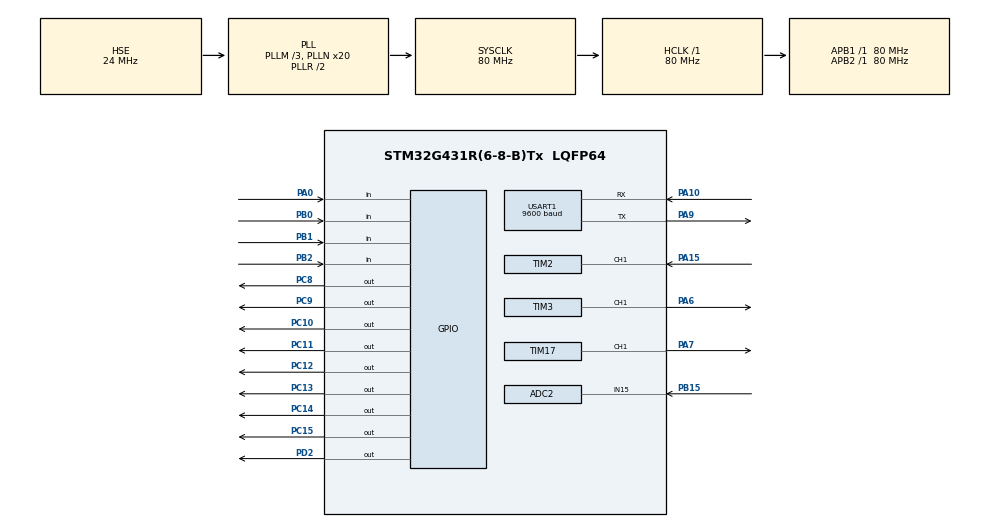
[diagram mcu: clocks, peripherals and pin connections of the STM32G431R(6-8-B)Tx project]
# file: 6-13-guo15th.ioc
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ADC2.Channel-0\#ChannelRegularConversion=ADC_CHANNEL_15
ADC2.ClockPrescaler=ADC_CLOCK_ASYNC_DIV128
ADC2.NbrOfConversionFlag=1
ADC2.OffsetNumber-0\#ChannelRegularConversion=ADC_OFFSET_NONE
ADC2.Rank-0\#ChannelRegularConversion=1
ADC2.SamplingTime-0\#ChannelRegularConversion=ADC_SAMPLETIME_2CYCLES_5
Mcu.Family=STM32G4
Mcu.Name=STM32G431R(6-8-B)Tx
Mcu.Package=LQFP64
NVIC.PriorityGroup=NVIC_PRIORITYGROUP_4
NVIC.TIM1_BRK_TIM15_IRQn=true\:0\:0\:false\:false\:true\:true\:true\:true
NVIC.TIM2_IRQn=true\:0\:0\:false\:false\:true\:true\:true\:true
NVIC.TIM7_IRQn=true\:0\:0\:false\:false\:true\:true\:true\:true
NVIC.USART1_IRQn=true\:0\:0\:false\:false\:true\:true\:true\:true
PA0.GPIO_PuPd=GPIO_PULLUP
PA0.Signal=GPIO_Input
PA10.Mode=Asynchronous
PA10.Signal=USART1_RX
PA13.Mode=Serial_Wire
PA13.Signal=SYS_JTMS-SWDIO
PA14.Mode=Serial_Wire
PA14.Signal=SYS_JTCK-SWCLK
PA15.Signal=S_TIM2_CH1
PA6.Signal=S_TIM3_CH1
PA7.Signal=S_TIM17_CH1
PA9.Mode=Asynchronous
PA9.Signal=USART1_TX
PB0.GPIO_PuPd=GPIO_PULLUP
PB0.Signal=GPIO_Input
PB1.GPIO_PuPd=GPIO_PULLUP
PB1.Signal=GPIO_Input
PB15.Mode=IN15-Single-Ended
PB15.Signal=ADC2_IN15
PB2.GPIO_PuPd=GPIO_PULLUP
PB2.Signal=GPIO_Input
PC10.PinState=GPIO_PIN_SET
PC10.Signal=GPIO_Output
PC11.PinState=GPIO_PIN_SET
PC11.Signal=GPIO_Output
PC12.PinState=GPIO_PIN_SET
PC12.Signal=GPIO_Output
PC13.PinState=GPIO_PIN_SET
PC13.Signal=GPIO_Output
PC14-OSC32_IN.PinState=GPIO_PIN_SET
PC14-OSC32_IN.Signal=GPIO_Output
PC15-OSC32_OUT.PinState=GPIO_PIN_SET
PC15-OSC32_OUT.Signal=GPIO_Output
PC8.PinState=GPIO_PIN_SET
PC8.Signal=GPIO_Output
PC9.PinState=GPIO_PIN_SET
PC9.Signal=GPIO_Output
PD2.Signal=GPIO_Output
PF0-OSC_IN.Mode=HSE-External-Oscillator
PF0-OSC_IN.Signal=RCC_OSC_IN
PF1-OSC_OUT.Mode=HSE-External-Oscillator
PF1-OSC_OUT.Signal=RCC_OSC_OUT
ProjectManager.HeapSize=0x200
ProjectManager.StackSize=0x400
ProjectManager.TargetToolchain=MDK-ARM V5.32
RCC.ADC12Freq_Value=80000000
RCC.AHBFreq_Value=80000000
RCC.APB1Freq_Value=80000000
RCC.APB1TimFreq_Value=80000000
RCC.APB2Freq_Value=80000000
RCC.APB2TimFreq_Value=80000000
RCC.CortexFreq_Value=80000000
RCC.EXTERNAL_CLOCK_VALUE=12288000
RCC.HCLKFreq_Value=80000000
RCC.HSE_VALUE=24000000
RCC.HSI48_VALUE=48000000
RCC.HSI_VALUE=16000000
RCC.LSE_VALUE=32768
RCC.PLLM=RCC_PLLM_DIV3
RCC.PLLN=20
RCC.PLLSourceVirtual=RCC_PLLSOURCE_HSE
RCC.SYSCLKFreq_VALUE=80000000
RCC.SYSCLKSource=RCC_SYSCLKSOURCE_PLLCLK
RCC.USBFreq_Value=80000000
RCC.VCOOutputFreq_Value=160000000
SH.S_TIM17_CH1.0=TIM17_CH1,PWM Generation1 CH1
SH.S_TIM2_CH1.0=TIM2_CH1,Input_Capture1_from_TI1
SH.S_TIM3_CH1.0=TIM3_CH1,PWM Generation1 CH1
TIM15.PeriodNoDither=1000-1
TIM15.Prescaler=800-1
TIM17.Channel=TIM_CHANNEL_1
TIM17.PeriodNoDither=250-1
TIM17.Prescaler=80-1
TIM2.Channel-Input_Capture1_from_TI1=TIM_CHANNEL_1
TIM2.PeriodNoDither=65535
TIM2.Prescaler=80-1
TIM3.Channel-PWM\ Generation1\ CH1=TIM_CHANNEL_1
TIM3.PeriodNoDither=1000-1
TIM3.Prescaler=80-1
TIM7.PeriodNoDither=1000-1
TIM7.Prescaler=80-1
USART1.BaudRate=9600
USART1.VirtualMode-Asynchronous=VM_ASYNC
VP_SYS_VS_DBSignals.Mode=DisableDeadBatterySignals
VP_TIM15_VS_ClockSourceINT.Mode=Internal
VP_TIM17_VS_ClockSourceINT.Mode=Enable_Timer
VP_TIM2_VS_ClockSourceINT.Mode=Internal
VP_TIM3_VS_ClockSourceINT.Mode=Internal
VP_TIM7_VS_ClockSourceINT.Mode=Enable_Timer
board=custom

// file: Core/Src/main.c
/* USER CODE BEGIN Header */
/**
  ******************************************************************************
  * @file           : main.c
  * @brief          : Main program body
  ******************************************************************************
  * @attention
  *
  * Copyright (c) 2025 STMicroelectronics.
  * All rights reserved.
  *
  * This software is licensed under terms that can be found in the LICENSE file
  * in the root directory of this software component.
  * If no LICENSE file comes with this software, it is provided AS-IS.
  *
  ******************************************************************************
  */
/* USER CODE END Header */
#include "main.h"
#include "adc.h"
#include "tim.h"
#include "usart.h"
#include "gpio.h"

/* USER CODE BEGIN Includes */
#include "headfile.h"
/* USER CODE END Includes */

void SystemClock_Config(void);

int main(void)
{

  /* MCU Configuration--------------------------------------------------------*/

  /* Reset of all peripherals, Initializes the Flash interface and the Systick. */
  HAL_Init();

  /* Configure the system clock */
  SystemClock_Config();

  /* Initialize all configured peripherals */
  MX_GPIO_Init();
  MX_ADC2_Init();
  MX_TIM2_Init();
  MX_TIM3_Init();
  MX_TIM7_Init();
  MX_TIM15_Init();
  MX_TIM17_Init();
  MX_USART1_UART_Init();
  /* USER CODE BEGIN 2 */
  HAL_GPIO_WritePin(GPIOD, GPIO_PIN_2, GPIO_PIN_RESET);
  led_show(1,0);
  led_show(2,0);
  led_show(3,0);
  led_show(4,0);
  led_show(5,0);
  led_show(6,0);
  led_show(7,0);
  led_show(8,0);
  //led_show(8,1);

  LCD_Init();
  LCD_SetTextColor(White);
  LCD_SetBackColor(Black);
  LCD_Clear(Black);

  HAL_UART_Receive_IT(&huart1, &rx_data, 1);
  HAL_ADCEx_Calibration_Start(&hadc2, ADC_SINGLE_ENDED);

  HAL_TIM_OC_Start_IT(&htim2, TIM_CHANNEL_2);
  HAL_TIM_OC_Start_IT(&htim2, TIM_CHANNEL_1);

  HAL_TIM_PWM_Start(&htim3, TIM_CHANNEL_1);
  __HAL_TIM_SetAutoreload(&htim3,1000-1);
  __HAL_TIM_SetCompare(&htim3,TIM_CHANNEL_1,(1000*0.4f));

  HAL_TIM_PWM_Start(&htim17, TIM_CHANNEL_1);
  __HAL_TIM_SetAutoreload(&htim17,1000-1);
  __HAL_TIM_SetCompare(&htim17,TIM_CHANNEL_1,(1000*0.6f));

  HAL_TIM_Base_Start_IT(&htim7);
  /* USER CODE END 2 */

  /* Infinite loop */
  /* USER CODE BEGIN WHILE */
  while (1)
  {

    while_fun();
    /* USER CODE END WHILE */

  }
}

void SystemClock_Config(void)
{
  RCC_OscInitTypeDef RCC_OscInitStruct = {0};
  RCC_ClkInitTypeDef RCC_ClkInitStruct = {0};

  /** Configure the main internal regulator output voltage
  */
  HAL_PWREx_ControlVoltageScaling(PWR_REGULATOR_VOLTAGE_SCALE1);

  /** Initializes the RCC Oscillators according to the specified parameters
  * in the RCC_OscInitTypeDef structure.
  */
  RCC_OscInitStruct.OscillatorType = RCC_OSCILLATORTYPE_HSE;
  RCC_OscInitStruct.HSEState = RCC_HSE_ON;
  RCC_OscInitStruct.PLL.PLLState = RCC_PLL_ON;
  RCC_OscInitStruct.PLL.PLLSource = RCC_PLLSOURCE_HSE;
  RCC_OscInitStruct.PLL.PLLM = RCC_PLLM_DIV3;
  RCC_OscInitStruct.PLL.PLLN = 20;
  RCC_OscInitStruct.PLL.PLLP = RCC_PLLP_DIV2;
  RCC_OscInitStruct.PLL.PLLQ = RCC_PLLQ_DIV2;
  RCC_OscInitStruct.PLL.PLLR = RCC_PLLR_DIV2;
  if (HAL_RCC_OscConfig(&RCC_OscInitStruct) != HAL_OK)
  {
    Error_Handler();
  }

  /** Initializes the CPU, AHB and APB buses clocks
  */
  RCC_ClkInitStruct.ClockType = RCC_CLOCKTYPE_HCLK|RCC_CLOCKTYPE_SYSCLK
                              |RCC_CLOCKTYPE_PCLK1|RCC_CLOCKTYPE_PCLK2;
  RCC_ClkInitStruct.SYSCLKSource = RCC_SYSCLKSOURCE_PLLCLK;
  RCC_ClkInitStruct.AHBCLKDivider = RCC_SYSCLK_DIV1;
  RCC_ClkInitStruct.APB1CLKDivider = RCC_HCLK_DIV1;
  RCC_ClkInitStruct.APB2CLKDivider = RCC_HCLK_DIV1;

  if (HAL_RCC_ClockConfig(&RCC_ClkInitStruct, FLASH_LATENCY_2) != HAL_OK)
  {
    Error_Handler();
  }
}

void Error_Handler(void)
{
  __disable_irq();
  while (1)
  {
  }
}
